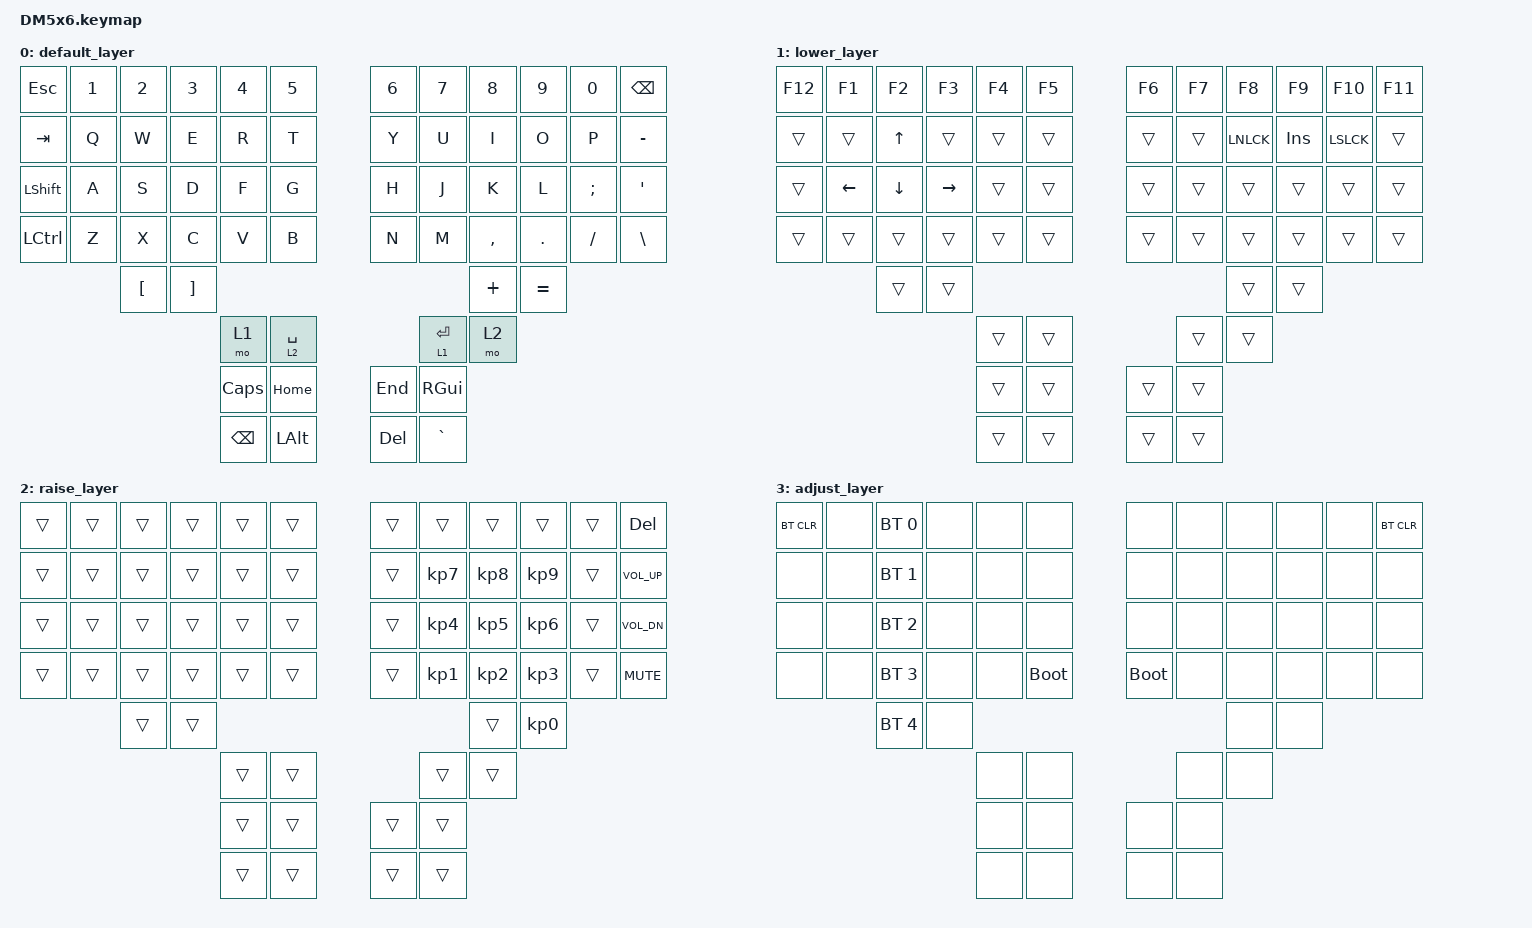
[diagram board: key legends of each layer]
#include <behaviors.dtsi>
#include <dt-bindings/zmk/keys.h>
#include <dt-bindings/zmk/bt.h>

#define DEFAULT 0
#define LWR 1
#define RSE 2
#define ADJ 3

/ {
    conditional_layers {
        compatible = "zmk,conditional-layers";

        tri_layer {
            if-layers = <LWR RSE>;
            then-layer = <ADJ>;
        };
    };
{
    keymap {
        compatible = "zmk,keymap";

        default_layer {
            bindings = <
                &kp ESC   &kp N1 &kp N2 &kp N3 &kp N4 &kp N5              &kp N6 &kp N7 &kp N8    &kp N9  &kp N0   &kp BSPC
                &kp TAB   &kp Q  &kp W  &kp E  &kp R  &kp T               &kp Y  &kp U  &kp I     &kp O   &kp P    &kp MINUS
                &kp LSHFT &kp A  &kp S  &kp D  &kp F  &kp G               &kp H  &kp J  &kp K     &kp L   &kp SEMI &kp SQT
                &kp LCTRL &kp Z  &kp X  &kp C  &kp V  &kp B               &kp N  &kp M  &kp COMMA &kp DOT &kp FSLH &kp BSLH
                                 &kp LBKT &kp RBKT                                      &kp PLUS  &kp EQUAL
                                            &mo 1     &lt 2 SPACE        &lt 1 ENTER  &mo 2
                                            &kp CAPS  &kp HOME           &kp END  &kp RGUI
                                            &kp BSPC  &kp LALT           &kp DEL  &kp GRAVE
            >;
        };

        lower_layer {
            bindings = <
                &kp F12 &kp F1   &kp F2   &kp F3    &kp F4 &kp F5                &kp F6  &kp F7 &kp F8    &kp F9  &kp F10    &kp F11
                &trans  &trans   &kp UP   &trans    &trans &trans                &trans  &trans &kp LNLCK &kp INS &kp LSLCK  &trans
                &trans  &kp LEFT &kp DOWN &kp RIGHT &trans &trans                &trans  &trans &trans    &trans  &trans     &trans
                &trans  &trans   &trans   &trans    &trans &trans                &trans  &trans &trans    &trans  &trans     &trans
                                 &trans   &trans                                                &trans    &trans
                                                 &trans &trans                   &trans &trans
                                                 &trans &trans                   &trans &trans
                                                 &trans &trans                   &trans &trans
            >;
        };

        raise_layer {
            bindings = <
                &trans  &trans &trans &trans &trans &trans                &trans &trans    &trans    &trans    &trans &kp DEL
                &trans  &trans &trans &trans &trans &trans                &trans &kp KP_N7 &kp KP_N8 &kp KP_N9 &trans &kp K_VOL_UP
                &trans  &trans &trans &trans &trans &trans                &trans &kp KP_N4 &kp KP_N5 &kp KP_N6 &trans &kp K_VOL_DN
                &trans  &trans &trans &trans &trans &trans                &trans &kp KP_N1 &kp KP_N2 &kp KP_N3 &trans &kp K_MUTE
                               &trans &trans                                            &trans &kp KP_N0
                                             &trans  &trans               &trans &trans
                                             &trans  &trans               &trans &trans
                                             &trans  &trans               &trans &trans
            >;
        };

        adjust_layer {
            bindings = <
                &bt BT_CLR    &none &bt BT_SEL 0   &none &none  &none            &none       &none  &none &none &none &bt BT_CLR
                &none         &none &bt BT_SEL 1   &none &none  &none            &none       &none &none &none &none &none
                &none         &none &bt BT_SEL 2   &none &none  &none            &none       &none  &none &none &none &none
                &none         &none &bt BT_SEL 3   &none &none  &bootloader      &bootloader &none  &none &none &none &none
                                   &bt BT_SEL 4       &none                                            &none &none
                                                      &none &none             &none &none
                                                      &none &none             &none &none
                                                      &none &none             &none &none
            >;
        };
    };
};
